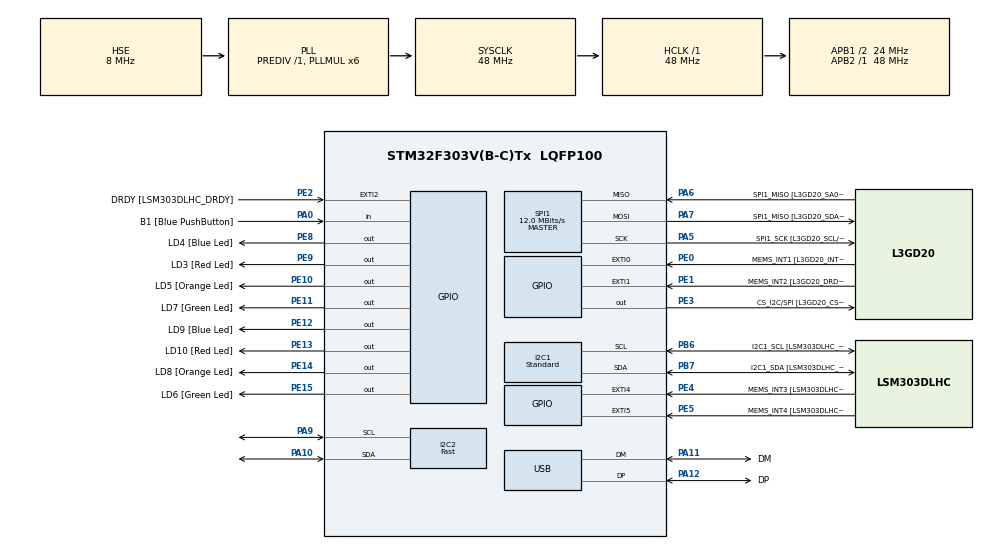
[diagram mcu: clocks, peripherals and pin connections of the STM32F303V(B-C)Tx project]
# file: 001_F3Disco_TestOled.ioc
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I2C1.I2C_Speed_Mode=I2C_Standard
I2C1.Timing=0x2000090E
I2C1.Timing-I2C=0x2000090E
I2C2.I2C_Speed_Mode=I2C_Fast
I2C2.Timing=0x0000020B
Mcu.Family=STM32F3
Mcu.Name=STM32F303V(B-C)Tx
Mcu.Package=LQFP100
NVIC.PriorityGroup=NVIC_PRIORITYGROUP_0
PA0.GPIO_Label=B1 [Blue PushButton]
PA0.Signal=GPIO_Input
PA10.Mode=I2C
PA10.Signal=I2C2_SDA
PA11.GPIO_Label=DM
PA11.Mode=Device
PA11.Signal=USB_DM
PA12.GPIO_Label=DP
PA12.Mode=Device
PA12.Signal=USB_DP
PA13.GPIO_Label=SWDIO
PA13.Mode=Serial_Wire
PA13.Signal=SYS_JTMS-SWDIO
PA14.GPIO_Label=SWCLK
PA14.Mode=Serial_Wire
PA14.Signal=SYS_JTCK-SWCLK
PA5.GPIO_Label=SPI1_SCK [L3GD20_SCL/SPC]
PA5.Mode=Full_Duplex_Master
PA5.Signal=SPI1_SCK
PA6.GPIO_Label=SPI1_MISO [L3GD20_SA0/SDO]
PA6.Mode=Full_Duplex_Master
PA6.Signal=SPI1_MISO
PA7.GPIO_Label=SPI1_MISO [L3GD20_SDA/SDI/SDO]
PA7.Mode=Full_Duplex_Master
PA7.Signal=SPI1_MOSI
PA9.Mode=I2C
PA9.Signal=I2C2_SCL
PB3.GPIO_Label=SWO
PB3.Signal=SYS_JTDO-TRACESWO
PB6.GPIO_Label=I2C1_SCL [LSM303DLHC_SCL]
PB6.GPIO_Pu=GPIO_PULLUP
PB6.Mode=I2C
PB6.Signal=I2C1_SCL
PB7.GPIO_Label=I2C1_SDA [LSM303DLHC_SDA]
PB7.GPIO_Pu=GPIO_PULLUP
PB7.Mode=I2C
PB7.Signal=I2C1_SDA
PC14-OSC32_IN.GPIO_Label=OSC32_IN
PC14-OSC32_IN.Signal=RCC_OSC32_IN
PC15-OSC32_OUT.GPIO_Label=OSC32_OUT
PC15-OSC32_OUT.Signal=RCC_OSC32_OUT
PE0.GPIO_Label=MEMS_INT1 [L3GD20_INT1]
PE0.GPIO_ModeDefaultEXTI=GPIO_MODE_EVT_RISING
PE0.Signal=GPXTI0
PE1.GPIO_Label=MEMS_INT2 [L3GD20_DRDY/INT2]
PE1.GPIO_ModeDefaultEXTI=GPIO_MODE_EVT_RISING
PE1.Signal=GPXTI1
PE10.GPIO_Label=LD5 [Orange Led]
PE10.Signal=GPIO_Output
PE11.GPIO_Label=LD7 [Green Led]
PE11.Signal=GPIO_Output
PE12.GPIO_Label=LD9 [Blue Led]
PE12.Signal=GPIO_Output
PE13.GPIO_Label=LD10 [Red Led]
PE13.Signal=GPIO_Output
PE14.GPIO_Label=LD8 [Orange Led]
PE14.Signal=GPIO_Output
PE15.GPIO_Label=LD6 [Green Led]
PE15.Signal=GPIO_Output
PE2.GPIO_Label=DRDY [LSM303DLHC_DRDY]
PE2.GPIO_ModeDefaultEXTI=GPIO_MODE_EVT_RISING
PE2.Signal=GPXTI2
PE3.GPIO_Label=CS_I2C/SPI [L3GD20_CS_I2C/SPI]
PE3.Signal=GPIO_Output
PE4.GPIO_Label=MEMS_INT3 [LSM303DLHC_INT1]
PE4.GPIO_ModeDefaultEXTI=GPIO_MODE_EVT_RISING
PE4.Signal=GPXTI4
PE5.GPIO_Label=MEMS_INT4 [LSM303DLHC_INT2]
PE5.GPIO_ModeDefaultEXTI=GPIO_MODE_EVT_RISING
PE5.Signal=GPXTI5
PE8.GPIO_Label=LD4 [Blue Led]
PE8.Signal=GPIO_Output
PE9.GPIO_Label=LD3 [Red Led]
PE9.Signal=GPIO_Output
PF0-OSC_IN.GPIO_Label=OSC_IN
PF0-OSC_IN.Mode=HSE-External-Clock-Source
PF0-OSC_IN.Signal=RCC_OSC_IN
PF1-OSC_OUT.GPIO_Label=OSC_OUT
PF1-OSC_OUT.Signal=RCC_OSC_OUT
ProjectManager.HeapSize=0x200
ProjectManager.StackSize=0x400
ProjectManager.TargetToolchain=STM32CubeIDE
RCC.AHBFreq_Value=48000000
RCC.APB1CLKDivider=RCC_HCLK_DIV2
RCC.APB1Freq_Value=24000000
RCC.APB1TimFreq_Value=48000000
RCC.APB2Freq_Value=48000000
RCC.APB2TimFreq_Value=48000000
RCC.CortexFreq_Value=48000000
RCC.HCLKFreq_Value=48000000
RCC.HSE_VALUE=8000000
RCC.HSI_VALUE=8000000
RCC.LSE_VALUE=32768
RCC.PLLMUL=RCC_PLL_MUL6
RCC.SYSCLKFreq_VALUE=48000000
RCC.SYSCLKSourceVirtual=RCC_SYSCLKSOURCE_PLLCLK
RCC.USBFreq_Value=48000000
SPI1.BaudRatePrescaler=SPI_BAUDRATEPRESCALER_4
SPI1.BaudRatePrescaler-Full_Duplex_Master=SPI_BAUDRATEPRESCALER_2
SPI1.CalculateBaudRate=12.0 MBits/s
SPI1.CalculateBaudRate-Full_Duplex_Master=24.0 MBits/s
SPI1.Direction=SPI_DIRECTION_2LINES
SPI1.Mode=SPI_MODE_MASTER
SPI1.Mode-Full_Duplex_Master=SPI_MODE_MASTER
SPI1.VirtualType=VM_MASTER
board=STM32F3DISCOVERY

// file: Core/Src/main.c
/* USER CODE BEGIN Header */
/**
  ******************************************************************************
  * @file           : main.c
  * @brief          : Main program body
  ******************************************************************************
  * @attention
  *
  * Copyright (c) 2021 STMicroelectronics.
  * All rights reserved.
  *
  * This software is licensed under terms that can be found in the LICENSE file
  * in the root directory of this software component.
  * If no LICENSE file comes with this software, it is provided AS-IS.
  *
  ******************************************************************************
  */
/* USER CODE END Header */
#include "main.h"

/* USER CODE BEGIN Includes */
#include "ssd1306.h"
#include "fonts.h"
#include "test.h"
/* USER CODE END Includes */

I2C_HandleTypeDef hi2c1;
I2C_HandleTypeDef hi2c2;

SPI_HandleTypeDef hspi1;

PCD_HandleTypeDef hpcd_USB_FS;

void SystemClock_Config(void);
static void MX_GPIO_Init(void);
static void MX_I2C1_Init(void);
static void MX_SPI1_Init(void);
static void MX_USB_PCD_Init(void);
static void MX_I2C2_Init(void);

int main(void)
{

  /* MCU Configuration--------------------------------------------------------*/

  /* Reset of all peripherals, Initializes the Flash interface and the Systick. */
  HAL_Init();

  /* Configure the system clock */
  SystemClock_Config();

  /* Initialize all configured peripherals */
  MX_GPIO_Init();
  MX_I2C1_Init();
  MX_SPI1_Init();
  MX_USB_PCD_Init();
  MX_I2C2_Init();
  /* USER CODE BEGIN 2 */

  SSD1306_Init();  // initialise

    /// lets print some string

      SSD1306_GotoXY (0,0);
      SSD1306_Puts ("HELLO", &Font_11x18, 1);
      SSD1306_GotoXY (10, 30);
      SSD1306_Puts ("  WORLD :)", &Font_11x18, 1);
      SSD1306_UpdateScreen(); //display

      HAL_Delay (2000);

      SSD1306_ScrollRight(0,7);  // scroll entire screen
      HAL_Delay(2000);  // 2 sec

      SSD1306_ScrollLeft(0,7);  // scroll entire screen
      HAL_Delay(2000);  // 2 sec

      SSD1306_Stopscroll();
      SSD1306_Clear();

      SSD1306_DrawBitmap(0,0,logo, 128, 64, 1);
      SSD1306_UpdateScreen();

      HAL_Delay(2000);

      SSD1306_ScrollRight(0x00, 0x0f);    // scroll entire screen right

      HAL_Delay (2000);

      SSD1306_ScrollLeft(0x00, 0x0f);  // scroll entire screen left

      HAL_Delay (2000);

      SSD1306_Scrolldiagright(0x00, 0x0f);  // scroll entire screen diagonal right

      HAL_Delay (2000);

      SSD1306_Scrolldiagleft(0x00, 0x0f);  // scroll entire screen diagonal left

      HAL_Delay (2000);

      SSD1306_Stopscroll();   // stop scrolling. If not done, screen will keep on scrolling

      SSD1306_InvertDisplay(1);   // invert the display

      HAL_Delay(2000);

      SSD1306_InvertDisplay(0);  // normalize the display
  //

      HAL_Delay(2000);

      /// TESTSSSSSSSSS

  //    TestLines(1);
  //    HAL_Delay (1000);
  //    TestRectangles(1);
  //    HAL_Delay (1000);
  //    TestFilledRectangles(1);
  //    HAL_Delay (1000);
  //    TestCircles(6,1);
  //    HAL_Delay (1000);
  //    TestFilledCircles(6, 1);
  //    TestTriangles(1);

  /* USER CODE END 2 */

  /* Infinite loop */
  while (1)
  {

    /* USER CODE BEGIN 3 */
	  //// HORSE ANIMATION START //////

		  SSD1306_Clear();
		  SSD1306_DrawBitmap(0,0,horse1,128,64,1);
		  SSD1306_UpdateScreen();

		  SSD1306_Clear();
		  SSD1306_DrawBitmap(0,0,horse2,128,64,1);
		  SSD1306_UpdateScreen();

		  SSD1306_Clear();
		  SSD1306_DrawBitmap(0,0,horse3,128,64,1);
		  SSD1306_UpdateScreen();

		  SSD1306_Clear();
		  SSD1306_DrawBitmap(0,0,horse4,128,64,1);
		  SSD1306_UpdateScreen();

		  SSD1306_Clear();
		  SSD1306_DrawBitmap(0,0,horse5,128,64,1);
		  SSD1306_UpdateScreen();

		  SSD1306_Clear();
		  SSD1306_DrawBitmap(0,0,horse6,128,64,1);
		  SSD1306_UpdateScreen();

		  SSD1306_Clear();
		  SSD1306_DrawBitmap(0,0,horse7,128,64,1);
		  SSD1306_UpdateScreen();

		  SSD1306_Clear();
		  SSD1306_DrawBitmap(0,0,horse8,128,64,1);
		  SSD1306_UpdateScreen();

		  SSD1306_Clear();
		  SSD1306_DrawBitmap(0,0,horse9,128,64,1);
		  SSD1306_UpdateScreen();

		  SSD1306_Clear();
		  SSD1306_DrawBitmap(0,0,horse10,128,64,1);
		  SSD1306_UpdateScreen();

		  //// HORSE ANIMATION ENDS //////

  }
  /* USER CODE END 3 */
}

void SystemClock_Config(void)
{
  RCC_OscInitTypeDef RCC_OscInitStruct = {0};
  RCC_ClkInitTypeDef RCC_ClkInitStruct = {0};
  RCC_PeriphCLKInitTypeDef PeriphClkInit = {0};

  /** Initializes the RCC Oscillators according to the specified parameters
  * in the RCC_OscInitTypeDef structure.
  */
  RCC_OscInitStruct.OscillatorType = RCC_OSCILLATORTYPE_HSI|RCC_OSCILLATORTYPE_HSE;
  RCC_OscInitStruct.HSEState = RCC_HSE_BYPASS;
  RCC_OscInitStruct.HSEPredivValue = RCC_HSE_PREDIV_DIV1;
  RCC_OscInitStruct.HSIState = RCC_HSI_ON;
  RCC_OscInitStruct.HSICalibrationValue = RCC_HSICALIBRATION_DEFAULT;
  RCC_OscInitStruct.PLL.PLLState = RCC_PLL_ON;
  RCC_OscInitStruct.PLL.PLLSource = RCC_PLLSOURCE_HSE;
  RCC_OscInitStruct.PLL.PLLMUL = RCC_PLL_MUL6;
  if (HAL_RCC_OscConfig(&RCC_OscInitStruct) != HAL_OK)
  {
    Error_Handler();
  }
  /** Initializes the CPU, AHB and APB buses clocks
  */
  RCC_ClkInitStruct.ClockType = RCC_CLOCKTYPE_HCLK|RCC_CLOCKTYPE_SYSCLK
                              |RCC_CLOCKTYPE_PCLK1|RCC_CLOCKTYPE_PCLK2;
  RCC_ClkInitStruct.SYSCLKSource = RCC_SYSCLKSOURCE_PLLCLK;
  RCC_ClkInitStruct.AHBCLKDivider = RCC_SYSCLK_DIV1;
  RCC_ClkInitStruct.APB1CLKDivider = RCC_HCLK_DIV2;
  RCC_ClkInitStruct.APB2CLKDivider = RCC_HCLK_DIV1;

  if (HAL_RCC_ClockConfig(&RCC_ClkInitStruct, FLASH_LATENCY_1) != HAL_OK)
  {
    Error_Handler();
  }
  PeriphClkInit.PeriphClockSelection = RCC_PERIPHCLK_USB|RCC_PERIPHCLK_I2C1
                              |RCC_PERIPHCLK_I2C2;
  PeriphClkInit.I2c1ClockSelection = RCC_I2C1CLKSOURCE_HSI;
  PeriphClkInit.I2c2ClockSelection = RCC_I2C2CLKSOURCE_HSI;
  PeriphClkInit.USBClockSelection = RCC_USBCLKSOURCE_PLL;
  if (HAL_RCCEx_PeriphCLKConfig(&PeriphClkInit) != HAL_OK)
  {
    Error_Handler();
  }
}

static void MX_I2C1_Init(void)
{

  hi2c1.Instance = I2C1;
  hi2c1.Init.Timing = 0x2000090E;
  hi2c1.Init.OwnAddress1 = 0;
  hi2c1.Init.AddressingMode = I2C_ADDRESSINGMODE_7BIT;
  hi2c1.Init.DualAddressMode = I2C_DUALADDRESS_DISABLE;
  hi2c1.Init.OwnAddress2 = 0;
  hi2c1.Init.OwnAddress2Masks = I2C_OA2_NOMASK;
  hi2c1.Init.GeneralCallMode = I2C_GENERALCALL_DISABLE;
  hi2c1.Init.NoStretchMode = I2C_NOSTRETCH_DISABLE;
  if (HAL_I2C_Init(&hi2c1) != HAL_OK)
  {
    Error_Handler();
  }
  /** Configure Analogue filter
  */
  if (HAL_I2CEx_ConfigAnalogFilter(&hi2c1, I2C_ANALOGFILTER_ENABLE) != HAL_OK)
  {
    Error_Handler();
  }
  /** Configure Digital filter
  */
  if (HAL_I2CEx_ConfigDigitalFilter(&hi2c1, 0) != HAL_OK)
  {
    Error_Handler();
  }

}

static void MX_I2C2_Init(void)
{

  hi2c2.Instance = I2C2;
  hi2c2.Init.Timing = 0x0000020B;
  hi2c2.Init.OwnAddress1 = 0;
  hi2c2.Init.AddressingMode = I2C_ADDRESSINGMODE_7BIT;
  hi2c2.Init.DualAddressMode = I2C_DUALADDRESS_DISABLE;
  hi2c2.Init.OwnAddress2 = 0;
  hi2c2.Init.OwnAddress2Masks = I2C_OA2_NOMASK;
  hi2c2.Init.GeneralCallMode = I2C_GENERALCALL_DISABLE;
  hi2c2.Init.NoStretchMode = I2C_NOSTRETCH_DISABLE;
  if (HAL_I2C_Init(&hi2c2) != HAL_OK)
  {
    Error_Handler();
  }
  /** Configure Analogue filter
  */
  if (HAL_I2CEx_ConfigAnalogFilter(&hi2c2, I2C_ANALOGFILTER_ENABLE) != HAL_OK)
  {
    Error_Handler();
  }
  /** Configure Digital filter
  */
  if (HAL_I2CEx_ConfigDigitalFilter(&hi2c2, 0) != HAL_OK)
  {
    Error_Handler();
  }

}

static void MX_SPI1_Init(void)
{

  /* SPI1 parameter configuration*/
  hspi1.Instance = SPI1;
  hspi1.Init.Mode = SPI_MODE_MASTER;
  hspi1.Init.Direction = SPI_DIRECTION_2LINES;
  hspi1.Init.DataSize = SPI_DATASIZE_4BIT;
  hspi1.Init.CLKPolarity = SPI_POLARITY_LOW;
  hspi1.Init.CLKPhase = SPI_PHASE_1EDGE;
  hspi1.Init.NSS = SPI_NSS_SOFT;
  hspi1.Init.BaudRatePrescaler = SPI_BAUDRATEPRESCALER_4;
  hspi1.Init.FirstBit = SPI_FIRSTBIT_MSB;
  hspi1.Init.TIMode = SPI_TIMODE_DISABLE;
  hspi1.Init.CRCCalculation = SPI_CRCCALCULATION_DISABLE;
  hspi1.Init.CRCPolynomial = 7;
  hspi1.Init.CRCLength = SPI_CRC_LENGTH_DATASIZE;
  hspi1.Init.NSSPMode = SPI_NSS_PULSE_ENABLE;
  if (HAL_SPI_Init(&hspi1) != HAL_OK)
  {
    Error_Handler();
  }

}

static void MX_USB_PCD_Init(void)
{

  hpcd_USB_FS.Instance = USB;
  hpcd_USB_FS.Init.dev_endpoints = 8;
  hpcd_USB_FS.Init.speed = PCD_SPEED_FULL;
  hpcd_USB_FS.Init.phy_itface = PCD_PHY_EMBEDDED;
  hpcd_USB_FS.Init.low_power_enable = DISABLE;
  hpcd_USB_FS.Init.battery_charging_enable = DISABLE;
  if (HAL_PCD_Init(&hpcd_USB_FS) != HAL_OK)
  {
    Error_Handler();
  }

}

static void MX_GPIO_Init(void)
{
  GPIO_InitTypeDef GPIO_InitStruct = {0};

  /* GPIO Ports Clock Enable */
  __HAL_RCC_GPIOE_CLK_ENABLE();
  __HAL_RCC_GPIOC_CLK_ENABLE();
  __HAL_RCC_GPIOF_CLK_ENABLE();
  __HAL_RCC_GPIOA_CLK_ENABLE();
  __HAL_RCC_GPIOB_CLK_ENABLE();

  /*Configure GPIO pin Output Level */
  HAL_GPIO_WritePin(GPIOE, CS_I2C_SPI_Pin|LD4_Pin|LD3_Pin|LD5_Pin
                          |LD7_Pin|LD9_Pin|LD10_Pin|LD8_Pin
                          |LD6_Pin, GPIO_PIN_RESET);

  /*Configure GPIO pins : DRDY_Pin MEMS_INT3_Pin MEMS_INT4_Pin MEMS_INT1_Pin
                           MEMS_INT2_Pin */
  GPIO_InitStruct.Pin = DRDY_Pin|MEMS_INT3_Pin|MEMS_INT4_Pin|MEMS_INT1_Pin
                          |MEMS_INT2_Pin;
  GPIO_InitStruct.Mode = GPIO_MODE_EVT_RISING;
  GPIO_InitStruct.Pull = GPIO_NOPULL;
  HAL_GPIO_Init(GPIOE, &GPIO_InitStruct);

  /*Configure GPIO pins : CS_I2C_SPI_Pin LD4_Pin LD3_Pin LD5_Pin
                           LD7_Pin LD9_Pin LD10_Pin LD8_Pin
                           LD6_Pin */
  GPIO_InitStruct.Pin = CS_I2C_SPI_Pin|LD4_Pin|LD3_Pin|LD5_Pin
                          |LD7_Pin|LD9_Pin|LD10_Pin|LD8_Pin
                          |LD6_Pin;
  GPIO_InitStruct.Mode = GPIO_MODE_OUTPUT_PP;
  GPIO_InitStruct.Pull = GPIO_NOPULL;
  GPIO_InitStruct.Speed = GPIO_SPEED_FREQ_LOW;
  HAL_GPIO_Init(GPIOE, &GPIO_InitStruct);

  /*Configure GPIO pin : B1_Pin */
  GPIO_InitStruct.Pin = B1_Pin;
  GPIO_InitStruct.Mode = GPIO_MODE_INPUT;
  GPIO_InitStruct.Pull = GPIO_NOPULL;
  HAL_GPIO_Init(B1_GPIO_Port, &GPIO_InitStruct);

}

void Error_Handler(void)
{
  __disable_irq();
  while (1)
  {
  }
}
